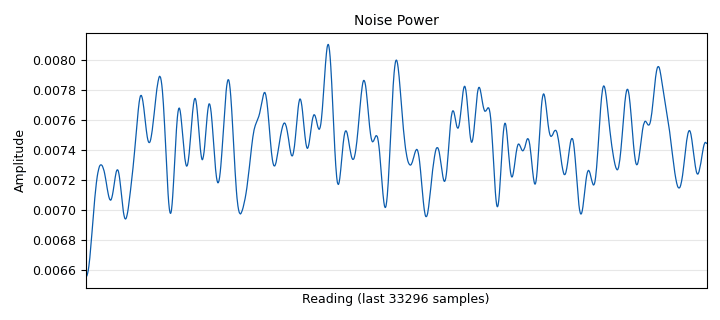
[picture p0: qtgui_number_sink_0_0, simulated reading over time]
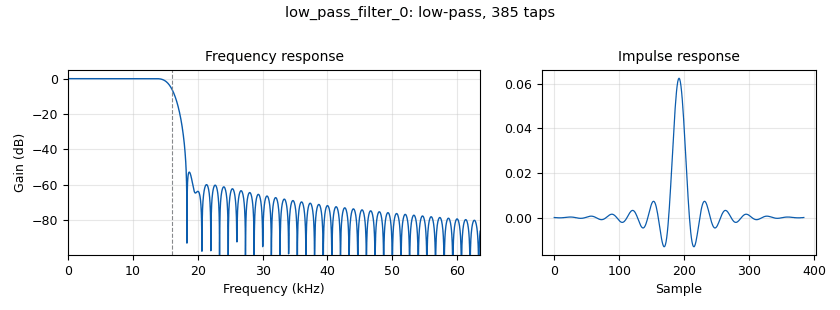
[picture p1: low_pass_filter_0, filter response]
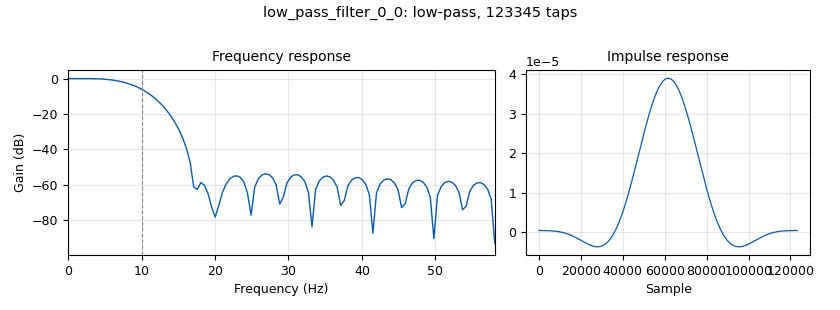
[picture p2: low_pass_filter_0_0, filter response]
<?xml version='1.0' encoding='utf-8'?>
<?grc format='1' created='3.7.11'?>
<flow_graph>
<block>
<key>options</key>
<param><key>id</key><value>Exp2_c</value></param>
<param><key>author</key><value>Bryce Hill</value></param>
<param><key>description</key><value> PAM signal SNR estimation in GNU Radio. </value></param>
<param><key>generate_options</key><value>qt_gui</value></param>
</block>
<block>
<key>variable_qtgui_range</key>
<param><key>id</key><value>A_noise</value></param>
<param><key>value</key><value>.35</value></param>
<param><key>gui_hint</key><value>2,1,1,1</value></param>
<param><key>orient</key><value>Qt.Horizontal</value></param>
<param><key>start</key><value>.01</value></param>
<param><key>step</key><value>.01</value></param>
<param><key>stop</key><value>5</value></param>
</block>
<block>
<key>variable</key>
<param><key>id</key><value>FB</value></param>
<param><key>value</key><value>32000</value></param>
</block>
<block>
<key>variable_qtgui_range</key>
<param><key>id</key><value>fL_div_by_FB</value></param>
<param><key>value</key><value>.5</value></param>
<param><key>gui_hint</key><value>1,1,1,1</value></param>
<param><key>orient</key><value>Qt.Horizontal</value></param>
<param><key>start</key><value>0</value></param>
<param><key>step</key><value>.5</value></param>
<param><key>stop</key><value>8</value></param>
</block>
<block>
<key>variable</key>
<param><key>id</key><value>pparms</value></param>
<param><key>value</key><value>[5, 2.6]</value></param>
</block>
<block>
<key>variable</key>
<param><key>id</key><value>ptype</value></param>
<param><key>value</key><value>'rect'</value></param>
</block>
<block>
<key>variable</key>
<param><key>id</key><value>samp_rate</value></param>
<param><key>value</key><value>FB*sps</value></param>
</block>
<block>
<key>variable</key>
<param><key>id</key><value>sps</value></param>
<param><key>value</key><value>16</value></param>
</block>
<block>
<key>variable</key>
<param><key>id</key><value>variable_0_2</value></param>
<param><key>value</key><value>0</value></param>
</block>
<block>
<key>analog_noise_source_x</key>
<param><key>id</key><value>analog_noise_source_x_0</value></param>
<param><key>amp</key><value>A_noise</value></param>
<param><key>noise_type</key><value>analog.GR_GAUSSIAN</value></param>
<param><key>type</key><value>float</value></param>
<param><key>seed</key><value>0</value></param>
</block>
<block>
<key>blocks_add_xx</key>
<param><key>id</key><value>blocks_add_xx_0</value></param>
<param><key>type</key><value>float</value></param>
</block>
<block>
<key>blocks_divide_xx</key>
<param><key>id</key><value>blocks_divide_xx_0</value></param>
<param><key>type</key><value>float</value></param>
</block>
<block>
<key>blocks_multiply_const_vxx</key>
<param><key>id</key><value>blocks_multiply_const_vxx_0</value></param>
<param><key>const</key><value>.6</value></param>
<param><key>type</key><value>float</value></param>
</block>
<block>
<key>blocks_multiply_xx</key>
<param><key>id</key><value>blocks_multiply_xx_1</value></param>
<param><key>type</key><value>float</value></param>
</block>
<block>
<key>blocks_multiply_xx</key>
<param><key>id</key><value>blocks_multiply_xx_2</value></param>
<param><key>type</key><value>float</value></param>
</block>
<block>
<key>blocks_nlog10_ff</key>
<param><key>id</key><value>blocks_nlog10_ff_0</value></param>
<param><key>k</key><value>0</value></param>
<param><key>n</key><value>10</value></param>
</block>
<block>
<key>blocks_throttle</key>
<param><key>id</key><value>blocks_throttle_0</value></param>
<param><key>samples_per_second</key><value>FB</value></param>
<param><key>type</key><value>float</value></param>
</block>
<block>
<key>blocks_wavfile_sink</key>
<param><key>id</key><value>blocks_wavfile_sink_0</value></param>
<param><key>bits_per_sample</key><value>16</value></param>
<param><key>file</key><value>/home/bryce/Documents/Class/CommLab/Lab_5/Exp2_c20_comp.wav</value></param>
<param><key>samp_rate</key><value>samp_rate</value></param>
</block>
<block>
<key>digital_glfsr_source_x</key>
<param><key>id</key><value>digital_glfsr_source_x_0</value></param>
<param><key>degree</key><value>22</value></param>
<param><key>mask</key><value>0</value></param>
<param><key>repeat</key><value>True</value></param>
<param><key>seed</key><value>1</value></param>
<param><key>type</key><value>float</value></param>
</block>
<block>
<key>interp_fir_filter_xxx</key>
<param><key>id</key><value>interp_fir_filter_xxx_0</value></param>
<param><key>interp</key><value>sps</value></param>
<param><key>taps</key><value>pampt(sps,ptype, pparms)</value></param>
<param><key>type</key><value>fff</value></param>
</block>
<block>
<key>low_pass_filter</key>
<param><key>id</key><value>low_pass_filter_0</value></param>
<param><key>cutoff_freq</key><value>fL_div_by_FB*FB</value></param>
<param><key>decim</key><value>1</value></param>
<param><key>type</key><value>fir_filter_fff</value></param>
<param><key>gain</key><value>1</value></param>
<param><key>samp_rate</key><value>samp_rate</value></param>
<param><key>width</key><value>3200</value></param>
<param><key>win</key><value>firdes.WIN_HAMMING</value></param>
</block>
<block>
<key>low_pass_filter</key>
<param><key>id</key><value>low_pass_filter_0_0</value></param>
<param><key>cutoff_freq</key><value>10</value></param>
<param><key>decim</key><value>4*sps</value></param>
<param><key>type</key><value>fir_filter_fff</value></param>
<param><key>gain</key><value>1</value></param>
<param><key>samp_rate</key><value>samp_rate</value></param>
<param><key>width</key><value>10</value></param>
<param><key>win</key><value>firdes.WIN_HAMMING</value></param>
</block>
<block>
<key>low_pass_filter</key>
<param><key>id</key><value>low_pass_filter_0_1</value></param>
<param><key>cutoff_freq</key><value>fL_div_by_FB*FB</value></param>
<param><key>decim</key><value>1</value></param>
<param><key>type</key><value>fir_filter_fff</value></param>
<param><key>gain</key><value>1</value></param>
<param><key>samp_rate</key><value>samp_rate</value></param>
<param><key>width</key><value>3200</value></param>
<param><key>win</key><value>firdes.WIN_HAMMING</value></param>
</block>
<block>
<key>low_pass_filter</key>
<param><key>id</key><value>low_pass_filter_0_2</value></param>
<param><key>cutoff_freq</key><value>10</value></param>
<param><key>decim</key><value>64</value></param>
<param><key>type</key><value>fir_filter_fff</value></param>
<param><key>gain</key><value>1</value></param>
<param><key>samp_rate</key><value>samp_rate</value></param>
<param><key>width</key><value>10</value></param>
<param><key>win</key><value>firdes.WIN_HAMMING</value></param>
</block>
<block>
<key>import</key>
<param><key>id</key><value>ptfun</value></param>
<param><key>import</key><value>from my_grc import pampt</value></param>
</block>
<block>
<key>qtgui_freq_sink_x</key>
<param><key>id</key><value>qtgui_freq_sink_x_0</value></param>
<param><key>bw</key><value>samp_rate</value></param>
<param><key>fc</key><value>0</value></param>
<param><key>fftsize</key><value>1024</value></param>
<param><key>gui_hint</key><value>3,2,1,1</value></param>
<param><key>showports</key><value>True</value></param>
<param><key>type</key><value>float</value></param>
<param><key>wintype</key><value>firdes.WIN_BLACKMAN_hARRIS</value></param>
</block>
<block>
<key>qtgui_number_sink</key>
<param><key>id</key><value>qtgui_number_sink_0</value></param>
<param><key>gui_hint</key><value>1,2,1,1</value></param>
<param><key>graph_type</key><value>qtgui.NUM_GRAPH_HORIZ</value></param>
<param><key>type</key><value>float</value></param>
<param><key>max</key><value>40</value></param>
<param><key>min</key><value>-10</value></param>
<param><key>name</key><value>"Signal to Noise Ratio [dB]"</value></param>
</block>
<block>
<key>qtgui_number_sink</key>
<param><key>id</key><value>qtgui_number_sink_0_0</value></param>
<param><key>gui_hint</key><value>2,2,1,1</value></param>
<param><key>graph_type</key><value>qtgui.NUM_GRAPH_HORIZ</value></param>
<param><key>type</key><value>float</value></param>
<param><key>name</key><value>"Noise Power "</value></param>
</block>
<block>
<key>qtgui_time_sink_x</key>
<param><key>id</key><value>qtgui_time_sink_x_0</value></param>
<param><key>gui_hint</key><value>3,1,1,1</value></param>
<param><key>color1</key><value>"blue"</value></param>
<param><key>label1</key><value></value></param>
<param><key>size</key><value>1024</value></param>
<param><key>srate</key><value>samp_rate</value></param>
<param><key>type</key><value>float</value></param>
</block>
<connection><source_block_id>analog_noise_source_x_0</source_block_id><sink_block_id>low_pass_filter_0_1</sink_block_id><source_key>0</source_key><sink_key>0</sink_key></connection>
<connection><source_block_id>blocks_add_xx_0</source_block_id><sink_block_id>blocks_multiply_const_vxx_0</sink_block_id><source_key>0</source_key><sink_key>0</sink_key></connection>
<connection><source_block_id>blocks_add_xx_0</source_block_id><sink_block_id>qtgui_freq_sink_x_0</sink_block_id><source_key>0</source_key><sink_key>0</sink_key></connection>
<connection><source_block_id>blocks_add_xx_0</source_block_id><sink_block_id>qtgui_time_sink_x_0</sink_block_id><source_key>0</source_key><sink_key>0</sink_key></connection>
<connection><source_block_id>blocks_divide_xx_0</source_block_id><sink_block_id>blocks_nlog10_ff_0</sink_block_id><source_key>0</source_key><sink_key>0</sink_key></connection>
<connection><source_block_id>blocks_multiply_const_vxx_0</source_block_id><sink_block_id>blocks_wavfile_sink_0</sink_block_id><source_key>0</source_key><sink_key>0</sink_key></connection>
<connection><source_block_id>blocks_multiply_xx_1</source_block_id><sink_block_id>low_pass_filter_0_2</sink_block_id><source_key>0</source_key><sink_key>0</sink_key></connection>
<connection><source_block_id>blocks_multiply_xx_2</source_block_id><sink_block_id>low_pass_filter_0_0</sink_block_id><source_key>0</source_key><sink_key>0</sink_key></connection>
<connection><source_block_id>blocks_nlog10_ff_0</source_block_id><sink_block_id>qtgui_number_sink_0</sink_block_id><source_key>0</source_key><sink_key>0</sink_key></connection>
<connection><source_block_id>blocks_throttle_0</source_block_id><sink_block_id>interp_fir_filter_xxx_0</sink_block_id><source_key>0</source_key><sink_key>0</sink_key></connection>
<connection><source_block_id>digital_glfsr_source_x_0</source_block_id><sink_block_id>blocks_throttle_0</sink_block_id><source_key>0</source_key><sink_key>0</sink_key></connection>
<connection><source_block_id>interp_fir_filter_xxx_0</source_block_id><sink_block_id>low_pass_filter_0</sink_block_id><source_key>0</source_key><sink_key>0</sink_key></connection>
<connection><source_block_id>low_pass_filter_0</source_block_id><sink_block_id>blocks_add_xx_0</sink_block_id><source_key>0</source_key><sink_key>0</sink_key></connection>
<connection><source_block_id>low_pass_filter_0</source_block_id><sink_block_id>blocks_multiply_xx_1</sink_block_id><source_key>0</source_key><sink_key>0</sink_key></connection>
<connection><source_block_id>low_pass_filter_0</source_block_id><sink_block_id>blocks_multiply_xx_1</sink_block_id><source_key>0</source_key><sink_key>1</sink_key></connection>
<connection><source_block_id>low_pass_filter_0_0</source_block_id><sink_block_id>blocks_divide_xx_0</sink_block_id><source_key>0</source_key><sink_key>1</sink_key></connection>
<connection><source_block_id>low_pass_filter_0_0</source_block_id><sink_block_id>qtgui_number_sink_0_0</sink_block_id><source_key>0</source_key><sink_key>0</sink_key></connection>
<connection><source_block_id>low_pass_filter_0_1</source_block_id><sink_block_id>blocks_add_xx_0</sink_block_id><source_key>0</source_key><sink_key>1</sink_key></connection>
<connection><source_block_id>low_pass_filter_0_1</source_block_id><sink_block_id>blocks_multiply_xx_2</sink_block_id><source_key>0</source_key><sink_key>0</sink_key></connection>
<connection><source_block_id>low_pass_filter_0_1</source_block_id><sink_block_id>blocks_multiply_xx_2</sink_block_id><source_key>0</source_key><sink_key>1</sink_key></connection>
<connection><source_block_id>low_pass_filter_0_2</source_block_id><sink_block_id>blocks_divide_xx_0</sink_block_id><source_key>0</source_key><sink_key>0</sink_key></connection>
</flow_graph>
